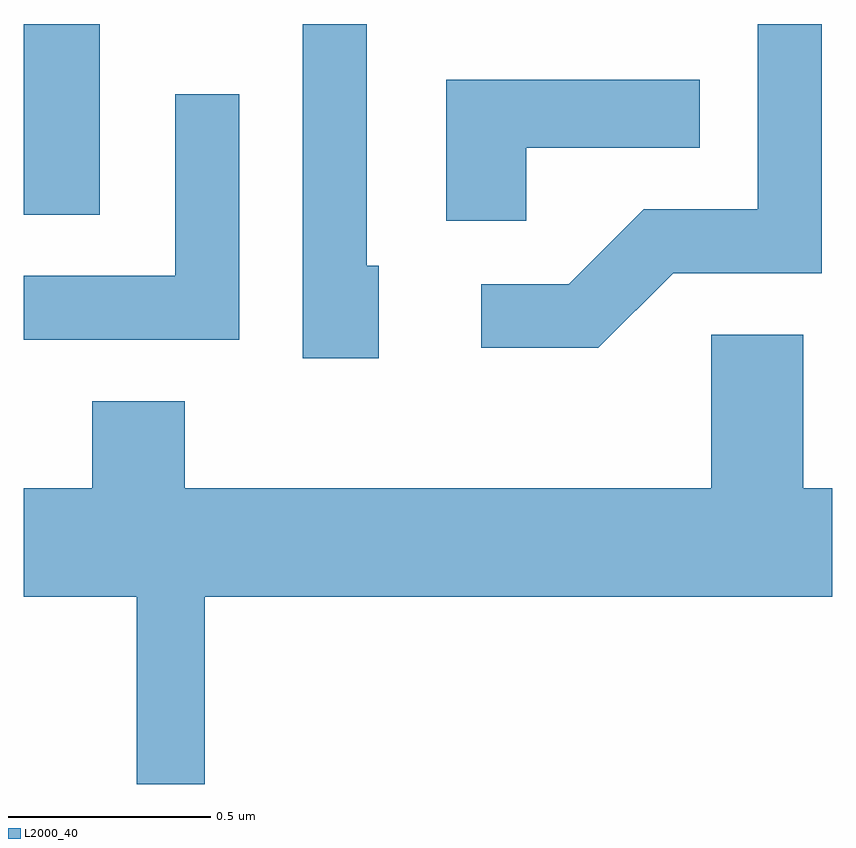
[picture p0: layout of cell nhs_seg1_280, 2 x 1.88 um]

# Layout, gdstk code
import gdstk
lib = gdstk.Library(unit=1e-6, precision=1e-09)
def R(c, l, rs):  # rectangles x0, y0, x1, y1
    for r in rs: c.add(gdstk.rectangle(r[:2], r[2:], *l))
def P(c, l, *ps):  # polygons
    for p in ps: c.add(gdstk.Polygon(p, *l))
L2000_40 = (2000, 40)

nhs_seg1_280 = lib.new_cell('nhs_seg1_280')
R(nhs_seg1_280, L2000_40, [(187.611,847.241,187.799,847.712)])
P(nhs_seg1_280, L2000_40, [(188.489,847.114),(188.459,847.114),(188.459,847.712),(188.301,847.712),(188.301,846.886),(188.489,846.886)],
  [(189.217,847.096),(189.584,847.096),(189.584,847.712),(189.426,847.712),(189.426,847.254),(189.144,847.254),(188.959,847.069),(188.743,847.069),(188.743,846.911),(189.032,846.911)],
  [(188.854,847.406),(189.283,847.406),(189.283,847.574),(188.656,847.574),(188.656,847.226),(188.854,847.226)],
  [(188.144,847.538),(187.986,847.538),(187.986,847.089),(187.611,847.089),(187.611,846.931),(188.144,846.931)],
  [(188.059,846.296),(189.611,846.296),(189.611,846.564),(189.539,846.564),(189.539,846.944),(189.311,846.944),(189.311,846.564),(188.009,846.564),(188.009,846.779),(187.781,846.779),(187.781,846.564),(187.611,846.564),(187.611,846.296),(187.891,846.296),(187.891,845.833),(188.059,845.833)])

lib.write_gds('nhs_seg1_280.gds')
